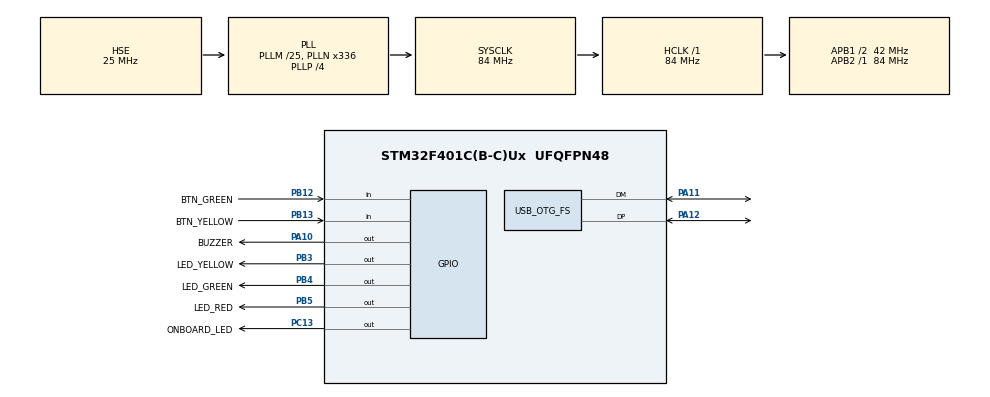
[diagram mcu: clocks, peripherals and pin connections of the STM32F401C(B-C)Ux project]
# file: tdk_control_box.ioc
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Mcu.Family=STM32F4
PC15-OSC32_OUT.Mode=LSE-External-Oscillator
USB_DEVICE.CLASS_NAME_FS=CDC
RCC.CortexFreq_Value=84000000
USB_DEVICE.VirtualModeFS=Cdc_FS
PC13-ANTI_TAMP.GPIO_Label=ONBOARD_LED
USB_DEVICE.PID_CDC_FS=12345
PH1\ -\ OSC_OUT.Mode=HSE-External-Oscillator
PA11.Mode=Device_Only
RCC.APB1CLKDivider=RCC_HCLK_DIV2
PC14-OSC32_IN.Signal=RCC_OSC32_IN
PB13.GPIO_Label=BTN_YELLOW
PB13.Signal=GPIO_Input
RCC.SYSCLKSource=RCC_SYSCLKSOURCE_PLLCLK
ProjectManager.StackSize=0x400
USB_DEVICE.MANUFACTURER_STRING=Crazypatoto
PH0\ -\ OSC_IN.Mode=HSE-External-Oscillator
PA12.Signal=USB_OTG_FS_DP
TIM1.Prescaler=83
PH0\ -\ OSC_IN.Signal=RCC_OSC_IN
USB_DEVICE.VID=1107
ProjectManager.TargetToolchain=STM32CubeIDE
USB_DEVICE.PRODUCT_STRING_CDC_FS=TDK Control Box ComPort
RCC.HCLKFreq_Value=84000000
VP_USB_DEVICE_VS_USB_DEVICE_CDC_FS.Mode=CDC_FS
RCC.APB2TimFreq_Value=84000000
PC15-OSC32_OUT.Signal=RCC_OSC32_OUT
RCC.AHBFreq_Value=84000000
RCC.HSE_VALUE=25000000
PH1\ -\ OSC_OUT.Signal=RCC_OSC_OUT
board=custom
PC13-ANTI_TAMP.Signal=GPIO_Output
RCC.VCOOutputFreq_Value=336000000
PB12.GPIO_Label=BTN_GREEN
PB13.GPIO_PuPd=GPIO_PULLUP
RCC.APB2Freq_Value=84000000
PC14-OSC32_IN.Mode=LSE-External-Oscillator
PB4.GPIO_Label=LED_GREEN
VP_TIM2_VS_ClockSourceINT.Mode=Internal
NVIC.TIM2_IRQn=true\:0\:0\:false\:false\:true\:true\:true
PA10.GPIO_Label=BUZZER
TIM2.Period=1000-1
Mcu.Name=STM32F401C(B-C)Ux
VP_TIM1_VS_ClockSourceINT.Mode=Internal
RCC.48MHZClocksFreq_Value=48000000
PB3.Signal=GPIO_Output
RCC.SYSCLKFreq_VALUE=84000000
Mcu.Package=UFQFPN48
PB5.Signal=GPIO_Output
TIM2.Prescaler=83
PA12.Mode=Device_Only
NVIC.OTG_FS_IRQn=true\:0\:0\:false\:false\:true\:false\:true
PA11.Signal=USB_OTG_FS_DM
PA10.Signal=GPIO_Output
USB_OTG_FS.VirtualMode=Device_Only
ProjectManager.HeapSize=0x200
RCC.HSI_VALUE=16000000
RCC.PLLP=RCC_PLLP_DIV4
RCC.PLLQ=7
NVIC.PriorityGroup=NVIC_PRIORITYGROUP_4
PB5.GPIO_Label=LED_RED
RCC.PLLM=25
RCC.PLLN=336
RCC.APB1TimFreq_Value=84000000
TIM1.Period=2000
PB12.GPIO_PuPd=GPIO_PULLUP
RCC.APB1Freq_Value=42000000
USB_DEVICE.VirtualMode=Cdc
PB12.Signal=GPIO_Input
PB4.Signal=GPIO_Output
PB3.GPIO_Label=LED_YELLOW

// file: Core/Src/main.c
/* USER CODE BEGIN Header */
/**
 ******************************************************************************
 * @file           : main.c
 * @brief          : Main program body
 ******************************************************************************
 * @attention
 *
 * <h2><center>&copy; Copyright (c) 2022 STMicroelectronics.
 * All rights reserved.</center></h2>
 *
 * This software component is licensed by ST under BSD 3-Clause license,
 * the "License"; You may not use this file except in compliance with the
 * License. You may obtain a copy of the License at:
 *                        opensource.org/licenses/BSD-3-Clause
 *
 ******************************************************************************
 */
/* USER CODE END Header */
#include "main.h"
#include "usb_device.h"

/* USER CODE BEGIN Includes */
#include <stdio.h>
#include "status.h"
#include "string.h"
#include "usbd_cdc_if.h"
/* USER CODE END Includes */

TIM_HandleTypeDef htim1;
TIM_HandleTypeDef htim2;

/* USER CODE BEGIN PV */
const uint16_t led_pins[3] = { LED_GREEN_Pin, LED_RED_Pin, LED_YELLOW_Pin };
uint8_t led_pin_count;
volatile uint32_t led_tick;

TDK_Status current_status, prev_status;
uint8_t connected_flag, connected_flag_prev;

char rxBuf[RX_BUFFER_SIZE];
uint32_t rxLen;
uint32_t last_rx_time;

uint16_t beep_buffer[10];
uint8_t beep_index;
uint8_t beep_length;
volatile uint32_t beep_tick;

volatile uint32_t btn_green_tick;
volatile uint32_t btn_yellow_tick;
uint8_t btn_green_triggered_flag;
uint8_t btn_yellow_triggered_flag;
/* USER CODE END PV */

void SystemClock_Config(void);
static void MX_GPIO_Init(void);
static void MX_TIM1_Init(void);
static void MX_TIM2_Init(void);
/* USER CODE BEGIN PFP */
void ShortBeep(int count);
void LongBeep(int count);
void ShortLongBeep(int short_count, int long_count);
/* USER CODE END PFP */

int main(void) {

	/* MCU Configuration--------------------------------------------------------*/

	/* Reset of all peripherals, Initializes the Flash interface and the Systick. */
	HAL_Init();

	/* Configure the system clock */
	SystemClock_Config();

	/* Initialize all configured peripherals */
	MX_GPIO_Init();
	MX_TIM1_Init();
	MX_USB_DEVICE_Init();
	MX_TIM2_Init();
	/* USER CODE BEGIN 2 */
	HAL_TIM_Base_Start_IT(&htim2);

	current_status = IDLE;
	prev_status = IDLE;
	connected_flag = 0;
	connected_flag_prev = 0;
	led_pin_count = 0;
	rxLen = 0;
	last_rx_time = 0;
	beep_index = 0;
	beep_length = 0;
	beep_tick = 0;
	btn_green_tick = 0;
	btn_yellow_tick = 0;
	btn_green_triggered_flag = 0;
	btn_yellow_triggered_flag = 0;

	ShortBeep(3);
	/* USER CODE END 2 */

	/* Infinite loop */
	/* USER CODE BEGIN WHILE */
	while (1) {
		uint32_t now = HAL_GetTick();

		if (rxLen > 0 && rxBuf[rxLen - 1] == '\n') {
			rxBuf[rxLen - 1] = '\0';
			connected_flag = 1;
			last_rx_time = now;
			if (strcmp("idle", rxBuf) == 0) {
				current_status = IDLE;
			} else if (strcmp("running A", rxBuf) == 0) {
				current_status = RUNNING_A;
			} else if (strcmp("running B", rxBuf) == 0) {
				current_status = RUNNING_B;
			} else if (strcmp("stopped", rxBuf) == 0) {
				current_status = STOPPED;
			} else if (strcmp("error", rxBuf) == 0) {
				current_status = ERR;
			} else {
				last_rx_time = 0;
			}
			rxLen = 0;
		}

		connected_flag =
				(now - last_rx_time) > DISCONNECTED_TIMEOUT ?
						0 : connected_flag;
		if (connected_flag && !connected_flag_prev)
			ShortBeep(2);
		if (!connected_flag && connected_flag_prev)
			LongBeep(3);
		connected_flag_prev = connected_flag;

		if (HAL_GPIO_ReadPin(GPIOB, BTN_GREEN_Pin)) {
			btn_green_tick = 0;
			btn_green_triggered_flag = 0;
		}
		if (HAL_GPIO_ReadPin(GPIOB, BTN_YELLOW_Pin)) {
			btn_yellow_tick = 0;
			btn_yellow_triggered_flag = 0;
		}

		if (!HAL_GPIO_ReadPin(GPIOB, BTN_GREEN_Pin)
				&& !HAL_GPIO_ReadPin(GPIOB, BTN_YELLOW_Pin)
				&& btn_green_tick > 100 && btn_yellow_tick > 100
				&& !btn_green_triggered_flag && !btn_yellow_triggered_flag) {
			btn_green_triggered_flag = 1;
			btn_yellow_triggered_flag = 1;
			LongBeep(2);
			usb_printf("stop\n");
		} else if (!HAL_GPIO_ReadPin(GPIOB, BTN_GREEN_Pin)
				&& btn_green_tick > 500 && !btn_green_triggered_flag) {
			btn_green_triggered_flag = 1;
			ShortLongBeep(1, 1);
			usb_printf("start A\n");
		} else if (!HAL_GPIO_ReadPin(GPIOB, BTN_YELLOW_Pin)
				&& btn_yellow_tick > 500 && !btn_yellow_triggered_flag) {
			btn_yellow_triggered_flag = 1;
			ShortLongBeep(2, 1);
			usb_printf("start B\n");
		}
//
//		HAL_GPIO_WritePin(GPIOB, LED_YELLOW_Pin,
//				!HAL_GPIO_ReadPin(GPIOB, BTN_YELLOW_Pin));
//		HAL_GPIO_WritePin(GPIOB, LED_GREEN_Pin,
//				!HAL_GPIO_ReadPin(GPIOB, BTN_GREEN_Pin));
		/* USER CODE END WHILE */

	}
}

void SystemClock_Config(void) {
	RCC_OscInitTypeDef RCC_OscInitStruct = { 0 };
	RCC_ClkInitTypeDef RCC_ClkInitStruct = { 0 };

	/** Configure the main internal regulator output voltage
	 */
	__HAL_RCC_PWR_CLK_ENABLE();
	__HAL_PWR_VOLTAGESCALING_CONFIG(PWR_REGULATOR_VOLTAGE_SCALE2);
	/** Initializes the RCC Oscillators according to the specified parameters
	 * in the RCC_OscInitTypeDef structure.
	 */
	RCC_OscInitStruct.OscillatorType = RCC_OSCILLATORTYPE_HSE;
	RCC_OscInitStruct.HSEState = RCC_HSE_ON;
	RCC_OscInitStruct.PLL.PLLState = RCC_PLL_ON;
	RCC_OscInitStruct.PLL.PLLSource = RCC_PLLSOURCE_HSE;
	RCC_OscInitStruct.PLL.PLLM = 25;
	RCC_OscInitStruct.PLL.PLLN = 336;
	RCC_OscInitStruct.PLL.PLLP = RCC_PLLP_DIV4;
	RCC_OscInitStruct.PLL.PLLQ = 7;
	if (HAL_RCC_OscConfig(&RCC_OscInitStruct) != HAL_OK) {
		Error_Handler();
	}
	/** Initializes the CPU, AHB and APB buses clocks
	 */
	RCC_ClkInitStruct.ClockType = RCC_CLOCKTYPE_HCLK | RCC_CLOCKTYPE_SYSCLK
			| RCC_CLOCKTYPE_PCLK1 | RCC_CLOCKTYPE_PCLK2;
	RCC_ClkInitStruct.SYSCLKSource = RCC_SYSCLKSOURCE_PLLCLK;
	RCC_ClkInitStruct.AHBCLKDivider = RCC_SYSCLK_DIV1;
	RCC_ClkInitStruct.APB1CLKDivider = RCC_HCLK_DIV2;
	RCC_ClkInitStruct.APB2CLKDivider = RCC_HCLK_DIV1;

	if (HAL_RCC_ClockConfig(&RCC_ClkInitStruct, FLASH_LATENCY_2) != HAL_OK) {
		Error_Handler();
	}
}

static void MX_TIM1_Init(void) {

	TIM_ClockConfigTypeDef sClockSourceConfig = { 0 };
	TIM_MasterConfigTypeDef sMasterConfig = { 0 };

	htim1.Instance = TIM1;
	htim1.Init.Prescaler = 83;
	htim1.Init.CounterMode = TIM_COUNTERMODE_UP;
	htim1.Init.Period = 2000;
	htim1.Init.ClockDivision = TIM_CLOCKDIVISION_DIV1;
	htim1.Init.RepetitionCounter = 0;
	htim1.Init.AutoReloadPreload = TIM_AUTORELOAD_PRELOAD_DISABLE;
	if (HAL_TIM_Base_Init(&htim1) != HAL_OK) {
		Error_Handler();
	}
	sClockSourceConfig.ClockSource = TIM_CLOCKSOURCE_INTERNAL;
	if (HAL_TIM_ConfigClockSource(&htim1, &sClockSourceConfig) != HAL_OK) {
		Error_Handler();
	}
	sMasterConfig.MasterOutputTrigger = TIM_TRGO_RESET;
	sMasterConfig.MasterSlaveMode = TIM_MASTERSLAVEMODE_DISABLE;
	if (HAL_TIMEx_MasterConfigSynchronization(&htim1, &sMasterConfig)
			!= HAL_OK) {
		Error_Handler();
	}

}

static void MX_TIM2_Init(void) {

	TIM_ClockConfigTypeDef sClockSourceConfig = { 0 };
	TIM_MasterConfigTypeDef sMasterConfig = { 0 };

	htim2.Instance = TIM2;
	htim2.Init.Prescaler = 83;
	htim2.Init.CounterMode = TIM_COUNTERMODE_UP;
	htim2.Init.Period = 1000 - 1;
	htim2.Init.ClockDivision = TIM_CLOCKDIVISION_DIV1;
	htim2.Init.AutoReloadPreload = TIM_AUTORELOAD_PRELOAD_DISABLE;
	if (HAL_TIM_Base_Init(&htim2) != HAL_OK) {
		Error_Handler();
	}
	sClockSourceConfig.ClockSource = TIM_CLOCKSOURCE_INTERNAL;
	if (HAL_TIM_ConfigClockSource(&htim2, &sClockSourceConfig) != HAL_OK) {
		Error_Handler();
	}
	sMasterConfig.MasterOutputTrigger = TIM_TRGO_RESET;
	sMasterConfig.MasterSlaveMode = TIM_MASTERSLAVEMODE_DISABLE;
	if (HAL_TIMEx_MasterConfigSynchronization(&htim2, &sMasterConfig)
			!= HAL_OK) {
		Error_Handler();
	}

}

static void MX_GPIO_Init(void) {
	GPIO_InitTypeDef GPIO_InitStruct = { 0 };

	/* GPIO Ports Clock Enable */
	__HAL_RCC_GPIOC_CLK_ENABLE();
	__HAL_RCC_GPIOH_CLK_ENABLE();
	__HAL_RCC_GPIOB_CLK_ENABLE();
	__HAL_RCC_GPIOA_CLK_ENABLE();

	/*Configure GPIO pin Output Level */
	HAL_GPIO_WritePin(ONBOARD_LED_GPIO_Port, ONBOARD_LED_Pin, GPIO_PIN_RESET);

	/*Configure GPIO pin Output Level */
	HAL_GPIO_WritePin(BUZZER_GPIO_Port, BUZZER_Pin, GPIO_PIN_RESET);

	/*Configure GPIO pin Output Level */
	HAL_GPIO_WritePin(GPIOB, LED_YELLOW_Pin | LED_GREEN_Pin | LED_RED_Pin,
			GPIO_PIN_RESET);

	/*Configure GPIO pin : ONBOARD_LED_Pin */
	GPIO_InitStruct.Pin = ONBOARD_LED_Pin;
	GPIO_InitStruct.Mode = GPIO_MODE_OUTPUT_PP;
	GPIO_InitStruct.Pull = GPIO_NOPULL;
	GPIO_InitStruct.Speed = GPIO_SPEED_FREQ_LOW;
	HAL_GPIO_Init(ONBOARD_LED_GPIO_Port, &GPIO_InitStruct);

	/*Configure GPIO pins : BTN_GREEN_Pin BTN_YELLOW_Pin */
	GPIO_InitStruct.Pin = BTN_GREEN_Pin | BTN_YELLOW_Pin;
	GPIO_InitStruct.Mode = GPIO_MODE_INPUT;
	GPIO_InitStruct.Pull = GPIO_PULLUP;
	HAL_GPIO_Init(GPIOB, &GPIO_InitStruct);

	/*Configure GPIO pin : BUZZER_Pin */
	GPIO_InitStruct.Pin = BUZZER_Pin;
	GPIO_InitStruct.Mode = GPIO_MODE_OUTPUT_PP;
	GPIO_InitStruct.Pull = GPIO_NOPULL;
	GPIO_InitStruct.Speed = GPIO_SPEED_FREQ_LOW;
	HAL_GPIO_Init(BUZZER_GPIO_Port, &GPIO_InitStruct);

	/*Configure GPIO pins : LED_YELLOW_Pin LED_GREEN_Pin LED_RED_Pin */
	GPIO_InitStruct.Pin = LED_YELLOW_Pin | LED_GREEN_Pin | LED_RED_Pin;
	GPIO_InitStruct.Mode = GPIO_MODE_OUTPUT_PP;
	GPIO_InitStruct.Pull = GPIO_NOPULL;
	GPIO_InitStruct.Speed = GPIO_SPEED_FREQ_LOW;
	HAL_GPIO_Init(GPIOB, &GPIO_InitStruct);

}

/* USER CODE BEGIN 4 */

void ShortBeep(int count) {
	int i = 0;
	for (i = 0; i < count; i++) {
		beep_buffer[i << 1] = 100;
		beep_buffer[(i << 1) + 1] = 30;
	}
	beep_length = count * 2;
	beep_index = 0;
	beep_tick = 0;
}

void LongBeep(int count) {
	int i = 0;
	for (i = 0; i < count; i++) {
		beep_buffer[i << 1] = 300;
		beep_buffer[(i << 1) + 1] = 30;
	}
	beep_length = count * 2;
	beep_index = 0;
	beep_tick = 0;
}

void ShortLongBeep(int short_count, int long_count) {
	int i = 0;
	int count = short_count + long_count;
	for (i = 0; i < count; i++) {
		beep_buffer[i << 1] = i < short_count ? 100 : 300;
		beep_buffer[(i << 1) + 1] = 30;
	}
	beep_length = count * 2;
	beep_index = 0;
	beep_tick = 0;
}

void TIMER2_ISR() {
	beep_tick++;

	if (beep_index < beep_length) {
		HAL_GPIO_WritePin(BUZZER_GPIO_Port, BUZZER_Pin,
				~(beep_index & 0x01) & 0x01);
		if (beep_tick > beep_buffer[beep_index]) {
			beep_index++;
			beep_tick = 0;
		}
	}

	led_tick++;
	if (!connected_flag) {
		if ((led_tick) > 100) {
			HAL_GPIO_TogglePin(GPIOB, led_pins[led_pin_count++]);
			if (led_pin_count >= 3)
				led_pin_count = 0;
			led_tick = 0;
		}
	} else {
		switch (current_status) {
		case IDLE:
			if ((led_tick) > 500) {
				HAL_GPIO_WritePin(GPIOB, LED_YELLOW_Pin | LED_GREEN_Pin,
						GPIO_PIN_RESET);
				HAL_GPIO_TogglePin(GPIOB, LED_RED_Pin);
				led_tick = 0;
			}
			break;
		case RUNNING_A:
			if ((led_tick) > 100) {
				HAL_GPIO_WritePin(GPIOB, LED_RED_Pin | LED_YELLOW_Pin,
						GPIO_PIN_RESET);
				HAL_GPIO_TogglePin(GPIOB, LED_GREEN_Pin);
				led_tick = 0;
			}
			break;
		case RUNNING_B:
			if ((led_tick) > 100) {
				HAL_GPIO_WritePin(GPIOB, LED_RED_Pin | LED_GREEN_Pin,
						GPIO_PIN_RESET);
				HAL_GPIO_TogglePin(GPIOB, LED_YELLOW_Pin);
				led_tick = 0;
			}
			break;
		case STOPPED:
			HAL_GPIO_WritePin(GPIOB, LED_RED_Pin, GPIO_PIN_SET);
			HAL_GPIO_WritePin(GPIOB, LED_GREEN_Pin | LED_YELLOW_Pin,
					GPIO_PIN_RESET);
			break;
		case ERR:
			if ((led_tick) > 100) {
				HAL_GPIO_WritePin(GPIOB, LED_YELLOW_Pin | LED_GREEN_Pin,
						GPIO_PIN_RESET);
				HAL_GPIO_TogglePin(GPIOB, LED_RED_Pin);
				HAL_GPIO_TogglePin(BUZZER_GPIO_Port, BUZZER_Pin);
				led_tick = 0;
			}
			break;
		default:
			break;
		}
	}

	if (!HAL_GPIO_ReadPin(GPIOB, BTN_GREEN_Pin)) {
		btn_green_tick++;
	}

	if (!HAL_GPIO_ReadPin(GPIOB, BTN_YELLOW_Pin)) {
		btn_yellow_tick++;
	}
}
/* USER CODE END 4 */

void Error_Handler(void) {
	/* USER CODE BEGIN Error_Handler_Debug */
	/* User can add his own implementation to report the HAL error return state */
	__disable_irq();
	while (1) {
		HAL_GPIO_WritePin(ONBOARD_LED_GPIO_Port, ONBOARD_LED_Pin, GPIO_PIN_SET);
	}
	/* USER CODE END Error_Handler_Debug */
}

/************************ (C) COPYRIGHT STMicroelectronics *****END OF FILE****/
